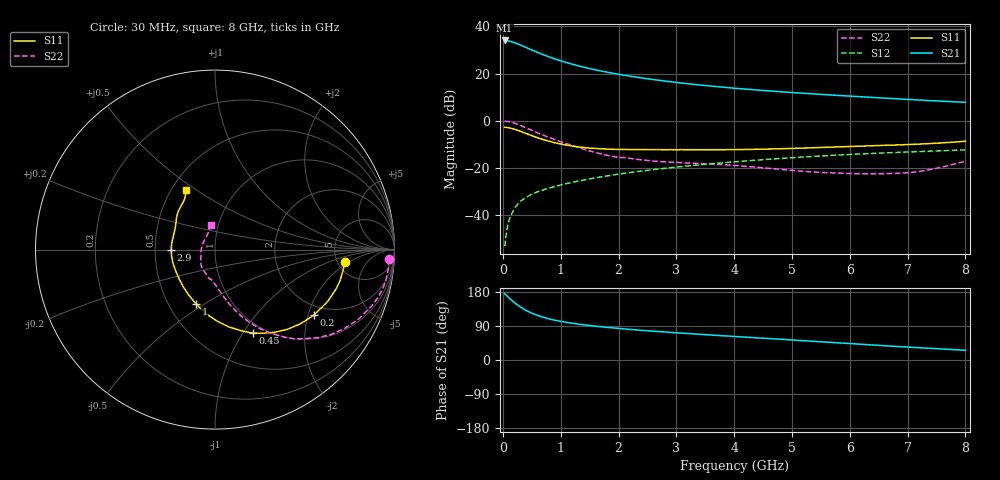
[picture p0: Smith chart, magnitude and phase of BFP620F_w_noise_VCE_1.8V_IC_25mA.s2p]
! Infineon Technologies  Discrete & RF Semiconductors
! BFP620F
! VCE =  1.8 V,  IC =  25 mA
! Common Emitter S-Parameters:  Dec 2014
# GHz  S  MA  R  50
!  f  S11  S21  S12  S22
! GHz  MAG  ANG  MAG  ANG  MAG  ANG  MAG  ANG
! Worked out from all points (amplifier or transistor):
!   95 points, 30 MHz to 8 GHz, reference 50 ohm
!   highest |S21| = 34.0 dB at 30 MHz (marker M1)
!   |S21| within 3 dB of that: start of sweep to 406.2 MHz
!   unconditionally stable (mu >= 1): 2.678 GHz to end of sweep
!   at 300 MHz: K = 0.34, MSG = 33.2 dB, |S12| = -34.2 dB
!   at 3.3 GHz: K = 1.02, MAG = 16.3 dB, |S12| = -18.9 dB
!   at 8 GHz: K = 1.06, MAG = 8.6 dB, |S12| = -12.3 dB
!   lowest NFmin = 1.00 dB at 450 MHz
!   S11 on the Smith chart (normalised r, x): 30 MHz: 5.83, -1.66; 200 MHz: 1.68, -2.18; 450 MHz: 0.88, -1.11; 1 GHz: 0.68, -0.46; 2.9 GHz: 0.61, -0.00; 8 GHz: 0.59, +0.45
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0.03  0.7268 -5.3  50.27 175.2  0.0022 79.0  0.9707 -3.2
0.08  0.7177 -14.0  49.58 167.7  0.0055 86.9  0.9671 -10.3
0.12  0.7001 -20.9  48.26 161.9  0.0086 81.0  0.9486 -15.8
0.15  0.6867 -25.8  47.25 157.9  0.0105 78.8  0.9282 -19.7
0.2  0.6608 -33.6  45.05 151.6  0.014 75.3  0.8891 -25.8
0.25  0.6303 -41.0  42.83 145.6  0.0167 72.5  0.8456 -31.3
0.3  0.5998 -47.8  40.48 140.3  0.0194 70.3  0.8 -36.3
0.4  0.5369 -60.2  35.87 131.0  0.0236 68.1  0.707 -44.5
0.45  0.5114 -65.5  33.69 127.2  0.0257 66.5  0.6674 -48.2
0.6  0.4364 -80.2  28.1 117.6  0.0313 63.5  0.5548 -56.7
0.7  0.3984 -88.4  25.11 112.6  0.0344 63.0  0.4942 -61.3
0.8  0.3678 -95.9  22.55 108.5  0.0376 62.9  0.4422 -65.1
1  0.3216 -109.1  18.63 101.9  0.0436 62.3  0.3601 -71.3
1.2  0.2911 -120.7  15.79 96.9  0.0497 62.2  0.298 -76.6
1.4  0.2718 -130.9  13.66 92.8  0.0555 62.0  0.2498 -81.4
2  0.2467 -155.6  9.667 83.4  0.074 60.9  0.1668 -97.4
2.7  0.244 -175.0  7.196 75.0  0.0952 58.3  0.1371 -114.4
2.9  0.2439 -179.3  6.704 72.9  0.1012 57.4  0.1325 -118.3
4.1  0.2453 159.0  4.786 61.2  0.1375 51.1  0.1108 -134.8
5.4  0.269 143.6  3.685 49.0  0.1763 43.0  0.082 -162.9
6.7  0.3036 129.8  2.969 36.8  0.2102 33.9  0.076 150.7
8  0.368 116.1  2.456 25.6  0.2415 25.1  0.1382 99.9
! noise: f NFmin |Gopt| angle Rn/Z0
0.45  1  0.01  10  0.2
0.9  1.04  0.01  11  0.16
1.5  1.06  0.02  -150  0.16
1.8  1.07  0.03  -150  0.16
1.9  1.07  0.04  -150  0.15
2.4  1.1  0.06  -147  0.16
3.5  1.17  0.1  -145  0.16
5.5  1.32  0.18  236  0.12
6  1.36  0.18  258  0.15
